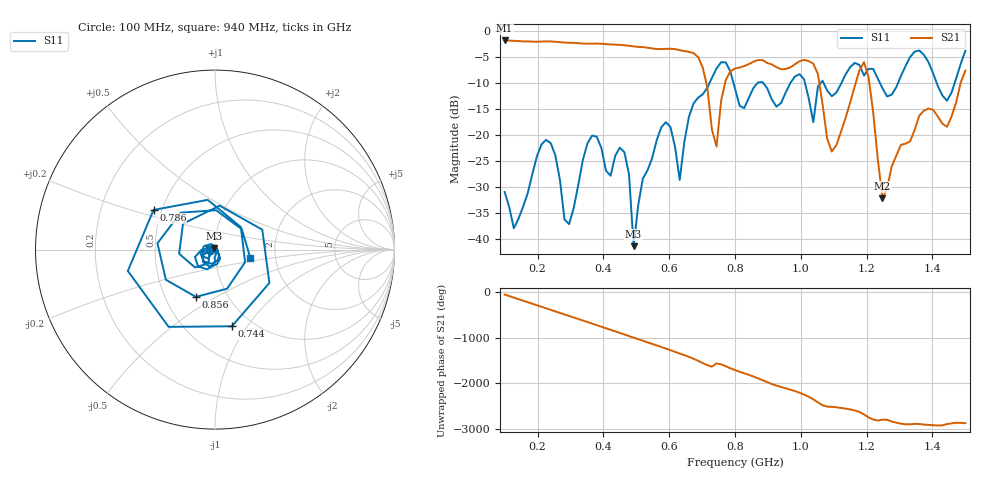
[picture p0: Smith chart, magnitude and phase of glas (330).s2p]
! NanoVNA-App
! Date: 2025-09-25 15:58:02
! Start: 100MHz Stop: 1,5GHz Points: 101
! S-Parameter data: F S11 S21 S12 S22
# Hz S RI R 50
!  Frequency  S11_Real  S11_Imag  S21_Real  S21_Imag  S12_Real  S12_Imag  S22_Real  S22_Imag
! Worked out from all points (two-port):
!   101 points, 100 MHz to 1.5 GHz, reference 50 ohm
!   highest |S21| = -1.80 dB at 100 MHz (marker M1); lowest = -32.1 dB at 1.248 GHz (marker M2)
!   |S21| within 3 dB of the highest: start of sweep to 684.4 MHz
!   lowest |S11| = -41.4 dB at 492 MHz (marker M3), VSWR 1.02, Z = 49.5 + j0.66 ohm
!   |S11| at or under -10 dB: start of sweep to 722.5 MHz; 795.5 MHz to 868.2 MHz (72.75 MHz wide, 8.75 % of centre); 886 MHz to 968.1 MHz (82.15 MHz wide, 8.86 % of centre) (the widest 3 of 7)
!   S12 and S22 are empty: the file has one direction only
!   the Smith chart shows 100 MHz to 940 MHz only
!   S11 on the Smith chart (normalised r, x): 100 MHz: 0.95, -0.01; 744 MHz: 0.81, -0.85; 786 MHz: 0.45, +0.24; 856 MHz: 0.71, -0.41; 940 MHz: 1.48, -0.15
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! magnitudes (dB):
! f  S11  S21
! 100 MHz  -30.9  -1.8
! 128 MHz  -37.9  -1.9
! 226 MHz  -20.9  -2.0
! 296 MHz  -37.1  -2.2
! 338 MHz  -24.7  -2.4
! 464 MHz  -23.3  -2.7
! 492 MHz  -41.4  -2.9
! 576 MHz  -18.5  -3.5
! 632 MHz  -28.6  -3.7
! 702 MHz  -12.2  -7.0
! 744 MHz  -7.2  -22.2
! 786 MHz  -7.8  -7.7
! 800 MHz  -11.1  -7.2
! 856 MHz  -10.9  -5.9
! 940 MHz  -13.8  -7.3
! 996 MHz  -8.3  -5.8
! 1.038 GHz  -17.5  -6.3
! 1.094 GHz  -12.5  -23.2
! 1.192 GHz  -8.6  -6.0
! 1.248 GHz  -11.0  -32.1
! 1.276 GHz  -12.2  -26.1
! 1.5 GHz  -3.8  -7.6
